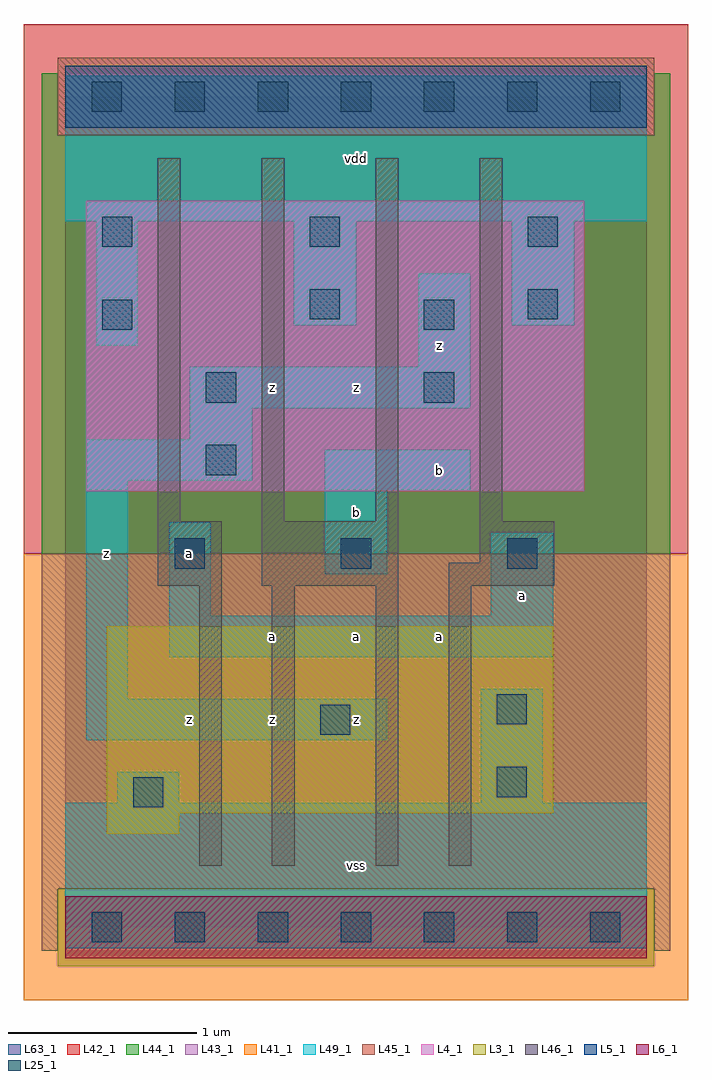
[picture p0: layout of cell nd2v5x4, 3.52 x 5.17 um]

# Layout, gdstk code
import gdstk
lib = gdstk.Library(unit=1e-6, precision=1e-09)
def R(c, l, rs):  # rectangles x0, y0, x1, y1
    for r in rs: c.add(gdstk.rectangle(r[:2], r[2:], *l))
def A(c, l, x, y, w, h, nx, ny, dx, dy):  # array of equal rectangles
    R(c, l, [(x+i*dx, y+j*dy, x+i*dx+w, y+j*dy+h) for i in range(nx) for j in range(ny)])
L3_1 = (3, 1)
L4_1 = (4, 1)
L5_1 = (5, 1)
L6_1 = (6, 1)
L25_1 = (25, 1)
L41_1 = (41, 1)
L42_1 = (42, 1)
L43_1 = (43, 1)
L44_1 = (44, 1)
L45_1 = (45, 1)
L46_1 = (46, 1)
L49_1 = (49, 1)
L63_1 = (63, 1)

nd2v5x4 = lib.new_cell('nd2v5x4')
R(nd2v5x4, L3_1, [(0.22,0.495,0.605,0.605), (0.22,0.605,2.585,1.595)])
R(nd2v5x4, L4_1, [(0.11,2.31,2.75,3.85)])
R(nd2v5x4, L5_1, [(0,4.235,3.08,4.565)])
R(nd2v5x4, L6_1, [(0,-0.165,3.08,0.165)])
A(nd2v5x4, L25_1, 0.14, -0.08, 0.16, 0.16, 7, 2, 0.44, 4.4)
A(nd2v5x4, L25_1, 0.58, 1.9, 0.16, 0.16, 3, 1, 0.88, 0)
R(nd2v5x4, L25_1, [(0.36,0.635,0.52,0.795), (2.285,0.69,2.445,0.85), (1.35,1.02,1.51,1.18), (2.285,1.075,2.445,1.235), (0.745,2.395,0.905,2.555), (0.745,2.78,0.905,2.94), (1.9,2.78,2.06,2.94), (0.195,3.165,0.355,3.325), (1.9,3.165,2.06,3.325), (1.295,3.22,1.455,3.38), (2.45,3.22,2.61,3.38), (0.195,3.605,0.355,3.765), (1.295,3.605,1.455,3.765), (2.45,3.605,2.61,3.765)])
R(nd2v5x4, L41_1, [(-0.22,-0.385,3.3,1.98)])
R(nd2v5x4, L42_1, [(-0.22,1.98,3.3,4.785)])
R(nd2v5x4, L43_1, [(0,-0.165,3.08,0.165), (0.22,0.495,0.605,0.605), (0.22,0.605,2.585,1.595), (0.11,2.31,2.75,3.85), (0,4.235,3.08,4.565)])
R(nd2v5x4, L44_1, [(-0.04,-0.205,3.12,0.205), (-0.125,1.98,3.205,4.195), (-0.125,4.195,-0.04,4.525), (3.12,4.195,3.205,4.525)])
R(nd2v5x4, L45_1, [(-0.125,-0.125,-0.04,0.205), (3.12,-0.125,3.205,0.205), (-0.125,0.205,3.205,1.98), (-0.04,4.195,3.12,4.605)])
R(nd2v5x4, L46_1, [(0.71,0.325,0.83,1.81), (1.095,0.325,1.215,1.81), (1.645,0.325,1.765,1.81), (2.03,0.325,2.15,1.81), (0.49,1.81,0.83,2.15), (1.04,1.81,1.765,2.15), (2.03,1.81,2.59,1.93), (2.195,1.93,2.59,2.15), (0.49,2.15,0.61,4.075), (1.04,2.15,1.16,4.075), (1.645,2.15,1.765,4.075), (2.195,2.15,2.315,4.075)])
R(nd2v5x4, L49_1, [(0,-0.11,3.08,0.66), (0.275,0.66,0.605,0.825), (2.2,0.66,2.53,1.265), (0.11,0.99,1.705,1.21), (0.11,1.21,0.33,2.365), (0.55,1.43,2.585,1.65), (0.55,1.65,0.77,2.145), (2.255,1.65,2.585,2.09), (1.375,1.87,1.705,2.31), (1.375,2.31,2.145,2.53), (0.11,2.365,0.99,2.585), (0.66,2.585,0.99,2.75), (0.66,2.75,2.145,2.97), (1.87,2.97,2.145,3.465), (0.165,3.08,0.385,3.74), (1.21,3.19,1.54,3.74), (2.365,3.19,2.695,3.74), (0,3.74,3.08,4.51)])
R(nd2v5x4, L63_1, [(0,0,3.08,4.4)])
nd2v5x4.add(gdstk.Label('z', (0.22,1.98), layer=49, texttype=1))
nd2v5x4.add(gdstk.Label('z', (0.66,1.1), layer=49, texttype=1))
nd2v5x4.add(gdstk.Label('a', (0.66,1.98), layer=49, texttype=1))
nd2v5x4.add(gdstk.Label('vss', (1.54,0.33), layer=49, texttype=1))
nd2v5x4.add(gdstk.Label('z', (1.1,1.1), layer=49, texttype=1))
nd2v5x4.add(gdstk.Label('a', (1.1,1.54), layer=49, texttype=1))
nd2v5x4.add(gdstk.Label('a', (1.54,1.54), layer=49, texttype=1))
nd2v5x4.add(gdstk.Label('z', (1.54,1.1), layer=49, texttype=1))
nd2v5x4.add(gdstk.Label('b', (1.54,2.2), layer=49, texttype=1))
nd2v5x4.add(gdstk.Label('z', (1.54,2.86), layer=49, texttype=1))
nd2v5x4.add(gdstk.Label('z', (1.1,2.86), layer=49, texttype=1))
nd2v5x4.add(gdstk.Label('vdd', (1.54,4.07), layer=49, texttype=1))
nd2v5x4.add(gdstk.Label('a', (1.98,1.54), layer=49, texttype=1))
nd2v5x4.add(gdstk.Label('a', (2.42,1.76), layer=49, texttype=1))
nd2v5x4.add(gdstk.Label('b', (1.98,2.42), layer=49, texttype=1))
nd2v5x4.add(gdstk.Label('z', (1.98,3.08), layer=49, texttype=1))

lib.write_gds('nd2v5x4.gds')
